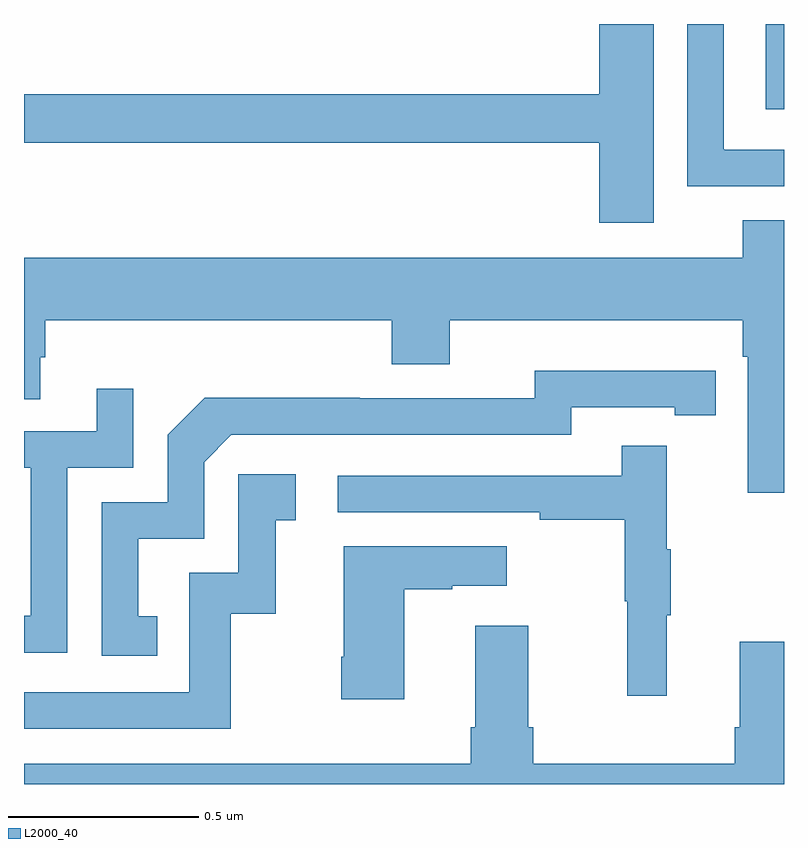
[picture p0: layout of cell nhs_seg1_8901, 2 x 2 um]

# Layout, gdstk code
import gdstk
lib = gdstk.Library(unit=1e-6, precision=1e-09)
def R(c, l, rs):  # rectangles x0, y0, x1, y1
    for r in rs: c.add(gdstk.rectangle(r[:2], r[2:], *l))
def P(c, l, *ps):  # polygons
    for p in ps: c.add(gdstk.Polygon(p, *l))
L2000_40 = (2000, 40)

nhs_seg1_8901 = lib.new_cell('nhs_seg1_8901')
R(nhs_seg1_8901, L2000_40, [(223.952,530.975,224,531.199)])
P(nhs_seg1_8901, L2000_40, [(223.657,531.199),(223.514,531.199),(223.514,531.014),(222,531.014),(222,530.886),(223.514,530.886),(223.514,530.676),(223.657,530.676)],
  [(224,530.868),(223.843,530.868),(223.843,530.869),(223.842,530.869),(223.842,531.199),(223.746,531.199),(223.746,530.772),(224,530.772)],
  [(224,530.683),(223.892,530.683),(223.892,530.584),(222,530.584),(222,530.212),(222.043,530.212),(222.043,530.322),(222.056,530.322),(222.056,530.42),(222.968,530.42),(222.968,530.303),(223.12,530.303),(223.12,530.42),(223.892,530.42),(223.892,530.324),(223.905,530.324),(223.905,529.965),(224,529.965)],
  [(222.35,529.641),(222.301,529.641),(222.301,529.845),(222.474,529.845),(222.474,530.046),(222.546,530.118),(223.44,530.118),(223.44,530.19),(223.712,530.19),(223.712,530.17),(223.82,530.17),(223.82,530.286),(223.712,530.286),(223.712,530.287),(223.344,530.287),(223.344,530.214),(222.884,530.214),(222.884,530.216),(222.476,530.216),(222.378,530.118),(222.378,529.941),(222.204,529.941),(222.204,529.536),(222.35,529.536)],
  [(222.114,530.031),(222.288,530.031),(222.288,530.239),(222.191,530.239),(222.191,530.127),(222,530.127),(222,530.031),(222.018,530.031),(222.018,529.642),(222,529.642),(222,529.545),(222.114,529.545)],
  [(223.691,529.643),(223.702,529.643),(223.702,529.817),(223.691,529.817),(223.691,530.089),(223.573,530.089),(223.573,530.01),(222.825,530.01),(222.825,529.914),(223.357,529.914),(223.357,529.894),(223.581,529.894),(223.581,529.68),(223.588,529.68),(223.588,529.431),(223.691,529.431)],
  [(222.544,529.647),(222.662,529.647),(222.662,529.893),(222.715,529.893),(222.715,530.014),(222.564,530.014),(222.564,529.755),(222.435,529.755),(222.435,529.44),(222,529.44),(222,529.344),(222.544,529.344)],
  [(223,529.711),(223.127,529.711),(223.127,529.721),(223.27,529.721),(223.27,529.825),(222.842,529.825),(222.842,529.534),(222.835,529.534),(222.835,529.422),(223,529.422)],
  [(224,529.573),(223.883,529.573),(223.883,529.348),(223.871,529.348),(223.871,529.252),(223.34,529.252),(223.34,529.348),(223.327,529.348),(223.327,529.615),(223.187,529.615),(223.187,529.348),(223.175,529.348),(223.175,529.252),(222,529.252),(222,529.199),(224,529.199)])

lib.write_gds('nhs_seg1_8901.gds')
